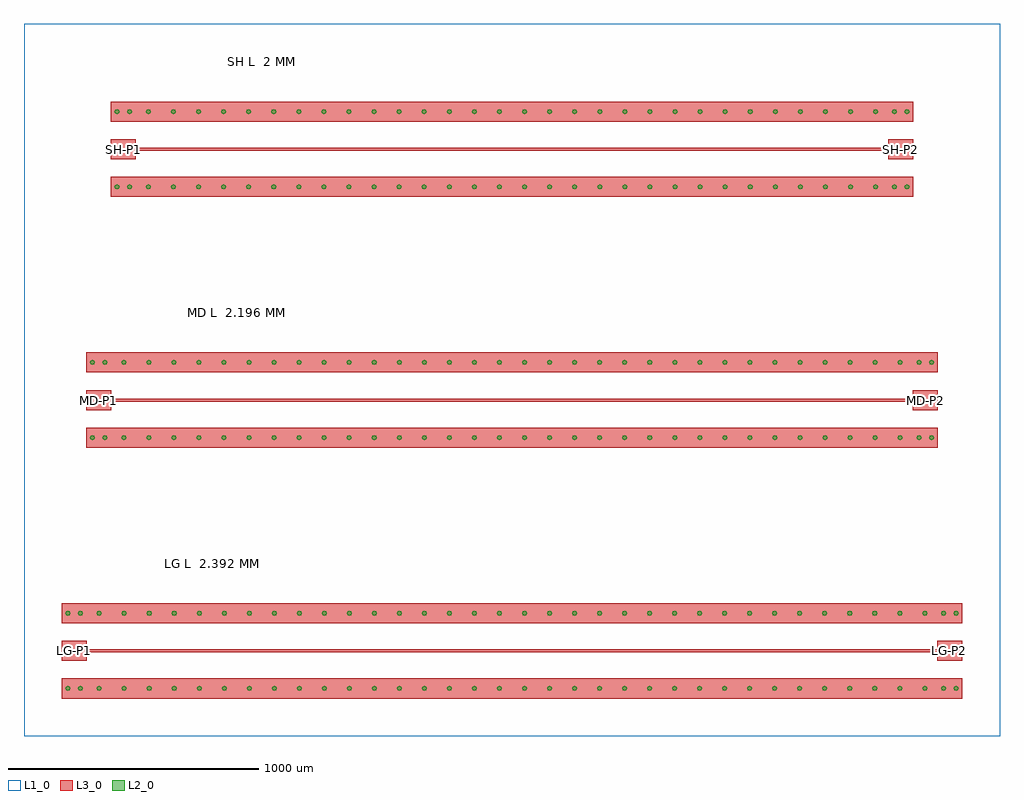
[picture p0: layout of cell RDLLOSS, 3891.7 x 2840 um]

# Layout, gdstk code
import gdstk
lib = gdstk.Library(unit=1e-6, precision=1e-09)
def R(c, l, rs):  # rectangles x0, y0, x1, y1
    for r in rs: c.add(gdstk.rectangle(r[:2], r[2:], *l))
def A(c, l, x, y, w, h, nx, ny, dx, dy):  # array of equal rectangles
    R(c, l, [(x+i*dx, y+j*dy, x+i*dx+w, y+j*dy+h) for i in range(nx) for j in range(ny)])
def P(c, l, *ps):  # polygons
    for p in ps: c.add(gdstk.Polygon(p, *l))
L1_0 = (1, 0)
L2_0 = (2, 0)
L3_0 = (3, 0)

rdlloss = lib.new_cell('RDLLOSS')
R(rdlloss, L1_0, [(-1945.85,-1340,1945.85,1500)])
P(rdlloss, L2_0, [(-1440,1150),(-1442.929,1157.071),(-1450,1160),(-1457.071,1157.071),(-1460,1150),(-1457.071,1142.929),(-1450,1140),(-1442.929,1142.929)],
  [(-1340,1150),(-1342.929,1157.071),(-1350,1160),(-1357.071,1157.071),(-1360,1150),(-1357.071,1142.929),(-1350,1140),(-1342.929,1142.929)],
  [(-1240,1150),(-1242.929,1157.071),(-1250,1160),(-1257.071,1157.071),(-1260,1150),(-1257.071,1142.929),(-1250,1140),(-1242.929,1142.929)],
  [(-1140,1150),(-1142.929,1157.071),(-1150,1160),(-1157.071,1157.071),(-1160,1150),(-1157.071,1142.929),(-1150,1140),(-1142.929,1142.929)],
  [(-1040,1150),(-1042.929,1157.071),(-1050,1160),(-1057.071,1157.071),(-1060,1150),(-1057.071,1142.929),(-1050,1140),(-1042.929,1142.929)],
  [(-940,1150),(-942.929,1157.071),(-950,1160),(-957.071,1157.071),(-960,1150),(-957.071,1142.929),(-950,1140),(-942.929,1142.929)],
  [(-840,1150),(-842.929,1157.071),(-850,1160),(-857.071,1157.071),(-860,1150),(-857.071,1142.929),(-850,1140),(-842.929,1142.929)],
  [(-740,1150),(-742.929,1157.071),(-750,1160),(-757.071,1157.071),(-760,1150),(-757.071,1142.929),(-750,1140),(-742.929,1142.929)],
  [(-640,1150),(-642.929,1157.071),(-650,1160),(-657.071,1157.071),(-660,1150),(-657.071,1142.929),(-650,1140),(-642.929,1142.929)],
  [(-540,1150),(-542.929,1157.071),(-550,1160),(-557.071,1157.071),(-560,1150),(-557.071,1142.929),(-550,1140),(-542.929,1142.929)],
  [(-440,1150),(-442.929,1157.071),(-450,1160),(-457.071,1157.071),(-460,1150),(-457.071,1142.929),(-450,1140),(-442.929,1142.929)],
  [(-340,1150),(-342.929,1157.071),(-350,1160),(-357.071,1157.071),(-360,1150),(-357.071,1142.929),(-350,1140),(-342.929,1142.929)],
  [(-240,1150),(-242.929,1157.071),(-250,1160),(-257.071,1157.071),(-260,1150),(-257.071,1142.929),(-250,1140),(-242.929,1142.929)],
  [(-140,1150),(-142.929,1157.071),(-150,1160),(-157.071,1157.071),(-160,1150),(-157.071,1142.929),(-150,1140),(-142.929,1142.929)],
  [(-40,1150),(-42.929,1157.071),(-50,1160),(-57.071,1157.071),(-60,1150),(-57.071,1142.929),(-50,1140),(-42.929,1142.929)],
  [(60,1150),(57.071,1157.071),(50,1160),(42.929,1157.071),(40,1150),(42.929,1142.929),(50,1140),(57.071,1142.929)],
  [(160,1150),(157.071,1157.071),(150,1160),(142.929,1157.071),(140,1150),(142.929,1142.929),(150,1140),(157.071,1142.929)],
  [(260,1150),(257.071,1157.071),(250,1160),(242.929,1157.071),(240,1150),(242.929,1142.929),(250,1140),(257.071,1142.929)],
  [(360,1150),(357.071,1157.071),(350,1160),(342.929,1157.071),(340,1150),(342.929,1142.929),(350,1140),(357.071,1142.929)],
  [(460,1150),(457.071,1157.071),(450,1160),(442.929,1157.071),(440,1150),(442.929,1142.929),(450,1140),(457.071,1142.929)],
  [(560,1150),(557.071,1157.071),(550,1160),(542.929,1157.071),(540,1150),(542.929,1142.929),(550,1140),(557.071,1142.929)],
  [(660,1150),(657.071,1157.071),(650,1160),(642.929,1157.071),(640,1150),(642.929,1142.929),(650,1140),(657.071,1142.929)],
  [(760,1150),(757.071,1157.071),(750,1160),(742.929,1157.071),(740,1150),(742.929,1142.929),(750,1140),(757.071,1142.929)],
  [(860,1150),(857.071,1157.071),(850,1160),(842.929,1157.071),(840,1150),(842.929,1142.929),(850,1140),(857.071,1142.929)],
  [(960,1150),(957.071,1157.071),(950,1160),(942.929,1157.071),(940,1150),(942.929,1142.929),(950,1140),(957.071,1142.929)],
  [(1060,1150),(1057.071,1157.071),(1050,1160),(1042.929,1157.071),(1040,1150),(1042.929,1142.929),(1050,1140),(1057.071,1142.929)],
  [(1160,1150),(1157.071,1157.071),(1150,1160),(1142.929,1157.071),(1140,1150),(1142.929,1142.929),(1150,1140),(1157.071,1142.929)],
  [(1260,1150),(1257.071,1157.071),(1250,1160),(1242.929,1157.071),(1240,1150),(1242.929,1142.929),(1250,1140),(1257.071,1142.929)],
  [(1360,1150),(1357.071,1157.071),(1350,1160),(1342.929,1157.071),(1340,1150),(1342.929,1142.929),(1350,1140),(1357.071,1142.929)],
  [(1460,1150),(1457.071,1157.071),(1450,1160),(1442.929,1157.071),(1440,1150),(1442.929,1142.929),(1450,1140),(1457.071,1142.929)],
  [(-1440,850),(-1442.929,857.071),(-1450,860),(-1457.071,857.071),(-1460,850),(-1457.071,842.929),(-1450,840),(-1442.929,842.929)],
  [(-1340,850),(-1342.929,857.071),(-1350,860),(-1357.071,857.071),(-1360,850),(-1357.071,842.929),(-1350,840),(-1342.929,842.929)],
  [(-1240,850),(-1242.929,857.071),(-1250,860),(-1257.071,857.071),(-1260,850),(-1257.071,842.929),(-1250,840),(-1242.929,842.929)],
  [(-1140,850),(-1142.929,857.071),(-1150,860),(-1157.071,857.071),(-1160,850),(-1157.071,842.929),(-1150,840),(-1142.929,842.929)],
  [(-1040,850),(-1042.929,857.071),(-1050,860),(-1057.071,857.071),(-1060,850),(-1057.071,842.929),(-1050,840),(-1042.929,842.929)],
  [(-940,850),(-942.929,857.071),(-950,860),(-957.071,857.071),(-960,850),(-957.071,842.929),(-950,840),(-942.929,842.929)],
  [(-840,850),(-842.929,857.071),(-850,860),(-857.071,857.071),(-860,850),(-857.071,842.929),(-850,840),(-842.929,842.929)],
  [(-740,850),(-742.929,857.071),(-750,860),(-757.071,857.071),(-760,850),(-757.071,842.929),(-750,840),(-742.929,842.929)],
  [(-640,850),(-642.929,857.071),(-650,860),(-657.071,857.071),(-660,850),(-657.071,842.929),(-650,840),(-642.929,842.929)],
  [(-540,850),(-542.929,857.071),(-550,860),(-557.071,857.071),(-560,850),(-557.071,842.929),(-550,840),(-542.929,842.929)],
  [(-440,850),(-442.929,857.071),(-450,860),(-457.071,857.071),(-460,850),(-457.071,842.929),(-450,840),(-442.929,842.929)],
  [(-340,850),(-342.929,857.071),(-350,860),(-357.071,857.071),(-360,850),(-357.071,842.929),(-350,840),(-342.929,842.929)],
  [(-240,850),(-242.929,857.071),(-250,860),(-257.071,857.071),(-260,850),(-257.071,842.929),(-250,840),(-242.929,842.929)],
  [(-140,850),(-142.929,857.071),(-150,860),(-157.071,857.071),(-160,850),(-157.071,842.929),(-150,840),(-142.929,842.929)],
  [(-40,850),(-42.929,857.071),(-50,860),(-57.071,857.071),(-60,850),(-57.071,842.929),(-50,840),(-42.929,842.929)],
  [(60,850),(57.071,857.071),(50,860),(42.929,857.071),(40,850),(42.929,842.929),(50,840),(57.071,842.929)],
  [(160,850),(157.071,857.071),(150,860),(142.929,857.071),(140,850),(142.929,842.929),(150,840),(157.071,842.929)],
  [(260,850),(257.071,857.071),(250,860),(242.929,857.071),(240,850),(242.929,842.929),(250,840),(257.071,842.929)],
  [(360,850),(357.071,857.071),(350,860),(342.929,857.071),(340,850),(342.929,842.929),(350,840),(357.071,842.929)],
  [(460,850),(457.071,857.071),(450,860),(442.929,857.071),(440,850),(442.929,842.929),(450,840),(457.071,842.929)],
  [(560,850),(557.071,857.071),(550,860),(542.929,857.071),(540,850),(542.929,842.929),(550,840),(557.071,842.929)],
  [(660,850),(657.071,857.071),(650,860),(642.929,857.071),(640,850),(642.929,842.929),(650,840),(657.071,842.929)],
  [(760,850),(757.071,857.071),(750,860),(742.929,857.071),(740,850),(742.929,842.929),(750,840),(757.071,842.929)],
  [(860,850),(857.071,857.071),(850,860),(842.929,857.071),(840,850),(842.929,842.929),(850,840),(857.071,842.929)],
  [(960,850),(957.071,857.071),(950,860),(942.929,857.071),(940,850),(942.929,842.929),(950,840),(957.071,842.929)],
  [(1060,850),(1057.071,857.071),(1050,860),(1042.929,857.071),(1040,850),(1042.929,842.929),(1050,840),(1057.071,842.929)],
  [(1160,850),(1157.071,857.071),(1150,860),(1142.929,857.071),(1140,850),(1142.929,842.929),(1150,840),(1157.071,842.929)],
  [(1260,850),(1257.071,857.071),(1250,860),(1242.929,857.071),(1240,850),(1242.929,842.929),(1250,840),(1257.071,842.929)],
  [(1360,850),(1357.071,857.071),(1350,860),(1342.929,857.071),(1340,850),(1342.929,842.929),(1350,840),(1357.071,842.929)],
  [(1460,850),(1457.071,857.071),(1450,860),(1442.929,857.071),(1440,850),(1442.929,842.929),(1450,840),(1457.071,842.929)],
  [(-1565,1150),(-1567.929,1157.071),(-1575,1160),(-1582.071,1157.071),(-1585,1150),(-1582.071,1142.929),(-1575,1140),(-1567.929,1142.929)],
  [(-1515,1150),(-1517.929,1157.071),(-1525,1160),(-1532.071,1157.071),(-1535,1150),(-1532.071,1142.929),(-1525,1140),(-1517.929,1142.929)],
  [(-1565,850),(-1567.929,857.071),(-1575,860),(-1582.071,857.071),(-1585,850),(-1582.071,842.929),(-1575,840),(-1567.929,842.929)],
  [(-1515,850),(-1517.929,857.071),(-1525,860),(-1532.071,857.071),(-1535,850),(-1532.071,842.929),(-1525,840),(-1517.929,842.929)],
  [(1535,1150),(1532.071,1157.071),(1525,1160),(1517.929,1157.071),(1515,1150),(1517.929,1142.929),(1525,1140),(1532.071,1142.929)],
  [(1585,1150),(1582.071,1157.071),(1575,1160),(1567.929,1157.071),(1565,1150),(1567.929,1142.929),(1575,1140),(1582.071,1142.929)],
  [(1535,850),(1532.071,857.071),(1525,860),(1517.929,857.071),(1515,850),(1517.929,842.929),(1525,840),(1532.071,842.929)],
  [(1585,850),(1582.071,857.071),(1575,860),(1567.929,857.071),(1565,850),(1567.929,842.929),(1575,840),(1582.071,842.929)],
  [(-1537.99,150),(-1540.919,157.071),(-1547.99,160),(-1555.061,157.071),(-1557.99,150),(-1555.061,142.929),(-1547.99,140),(-1540.919,142.929)],
  [(-1438.12,150),(-1441.049,157.071),(-1448.12,160),(-1455.191,157.071),(-1458.12,150),(-1455.191,142.929),(-1448.12,140),(-1441.049,142.929)],
  [(-1338.249,150),(-1341.178,157.071),(-1348.249,160),(-1355.32,157.071),(-1358.249,150),(-1355.32,142.929),(-1348.249,140),(-1341.178,142.929)],
  [(-1238.379,150),(-1241.308,157.071),(-1248.379,160),(-1255.45,157.071),(-1258.379,150),(-1255.45,142.929),(-1248.379,140),(-1241.308,142.929)],
  [(-1138.509,150),(-1141.438,157.071),(-1148.509,160),(-1155.58,157.071),(-1158.509,150),(-1155.58,142.929),(-1148.509,140),(-1141.438,142.929)],
  [(-1038.638,150),(-1041.567,157.071),(-1048.638,160),(-1055.709,157.071),(-1058.638,150),(-1055.709,142.929),(-1048.638,140),(-1041.567,142.929)],
  [(-938.768,150),(-941.697,157.071),(-948.768,160),(-955.839,157.071),(-958.768,150),(-955.839,142.929),(-948.768,140),(-941.697,142.929)],
  [(-838.898,150),(-841.827,157.071),(-848.898,160),(-855.969,157.071),(-858.898,150),(-855.969,142.929),(-848.898,140),(-841.827,142.929)],
  [(-739.027,150),(-741.956,157.071),(-749.027,160),(-756.098,157.071),(-759.027,150),(-756.098,142.929),(-749.027,140),(-741.956,142.929)],
  [(-639.157,150),(-642.086,157.071),(-649.157,160),(-656.228,157.071),(-659.157,150),(-656.228,142.929),(-649.157,140),(-642.086,142.929)],
  [(-539.287,150),(-542.216,157.071),(-549.287,160),(-556.358,157.071),(-559.287,150),(-556.358,142.929),(-549.287,140),(-542.216,142.929)],
  [(-439.416,150),(-442.345,157.071),(-449.416,160),(-456.488,157.071),(-459.416,150),(-456.488,142.929),(-449.416,140),(-442.345,142.929)],
  [(-339.546,150),(-342.475,157.071),(-349.546,160),(-356.617,157.071),(-359.546,150),(-356.617,142.929),(-349.546,140),(-342.475,142.929)],
  [(-239.676,150),(-242.605,157.071),(-249.676,160),(-256.747,157.071),(-259.676,150),(-256.747,142.929),(-249.676,140),(-242.605,142.929)],
  [(-139.805,150),(-142.734,157.071),(-149.805,160),(-156.877,157.071),(-159.805,150),(-156.877,142.929),(-149.805,140),(-142.734,142.929)],
  [(-39.935,150),(-42.864,157.071),(-49.935,160),(-57.006,157.071),(-59.935,150),(-57.006,142.929),(-49.935,140),(-42.864,142.929)],
  [(59.935,150),(57.006,157.071),(49.935,160),(42.864,157.071),(39.935,150),(42.864,142.929),(49.935,140),(57.006,142.929)],
  [(159.805,150),(156.877,157.071),(149.805,160),(142.734,157.071),(139.805,150),(142.734,142.929),(149.805,140),(156.877,142.929)],
  [(259.676,150),(256.747,157.071),(249.676,160),(242.605,157.071),(239.676,150),(242.605,142.929),(249.676,140),(256.747,142.929)],
  [(359.546,150),(356.617,157.071),(349.546,160),(342.475,157.071),(339.546,150),(342.475,142.929),(349.546,140),(356.617,142.929)],
  [(459.416,150),(456.488,157.071),(449.416,160),(442.345,157.071),(439.416,150),(442.345,142.929),(449.416,140),(456.488,142.929)],
  [(559.287,150),(556.358,157.071),(549.287,160),(542.216,157.071),(539.287,150),(542.216,142.929),(549.287,140),(556.358,142.929)],
  [(659.157,150),(656.228,157.071),(649.157,160),(642.086,157.071),(639.157,150),(642.086,142.929),(649.157,140),(656.228,142.929)],
  [(759.027,150),(756.098,157.071),(749.027,160),(741.956,157.071),(739.027,150),(741.956,142.929),(749.027,140),(756.098,142.929)],
  [(858.898,150),(855.969,157.071),(848.898,160),(841.827,157.071),(838.898,150),(841.827,142.929),(848.898,140),(855.969,142.929)],
  [(958.768,150),(955.839,157.071),(948.768,160),(941.697,157.071),(938.768,150),(941.697,142.929),(948.768,140),(955.839,142.929)],
  [(1058.638,150),(1055.709,157.071),(1048.638,160),(1041.567,157.071),(1038.638,150),(1041.567,142.929),(1048.638,140),(1055.709,142.929)],
  [(1158.509,150),(1155.58,157.071),(1148.509,160),(1141.438,157.071),(1138.509,150),(1141.438,142.929),(1148.509,140),(1155.58,142.929)],
  [(1258.379,150),(1255.45,157.071),(1248.379,160),(1241.308,157.071),(1238.379,150),(1241.308,142.929),(1248.379,140),(1255.45,142.929)],
  [(1358.249,150),(1355.32,157.071),(1348.249,160),(1341.178,157.071),(1338.249,150),(1341.178,142.929),(1348.249,140),(1355.32,142.929)],
  [(1458.12,150),(1455.191,157.071),(1448.12,160),(1441.049,157.071),(1438.12,150),(1441.049,142.929),(1448.12,140),(1455.191,142.929)],
  [(1557.99,150),(1555.061,157.071),(1547.99,160),(1540.919,157.071),(1537.99,150),(1540.919,142.929),(1547.99,140),(1555.061,142.929)],
  [(-1537.99,-150),(-1540.919,-142.929),(-1547.99,-140),(-1555.061,-142.929),(-1557.99,-150),(-1555.061,-157.071),(-1547.99,-160),(-1540.919,-157.071)],
  [(-1438.12,-150),(-1441.049,-142.929),(-1448.12,-140),(-1455.191,-142.929),(-1458.12,-150),(-1455.191,-157.071),(-1448.12,-160),(-1441.049,-157.071)],
  [(-1338.249,-150),(-1341.178,-142.929),(-1348.249,-140),(-1355.32,-142.929),(-1358.249,-150),(-1355.32,-157.071),(-1348.249,-160),(-1341.178,-157.071)],
  [(-1238.379,-150),(-1241.308,-142.929),(-1248.379,-140),(-1255.45,-142.929),(-1258.379,-150),(-1255.45,-157.071),(-1248.379,-160),(-1241.308,-157.071)],
  [(-1138.509,-150),(-1141.438,-142.929),(-1148.509,-140),(-1155.58,-142.929),(-1158.509,-150),(-1155.58,-157.071),(-1148.509,-160),(-1141.438,-157.071)],
  [(-1038.638,-150),(-1041.567,-142.929),(-1048.638,-140),(-1055.709,-142.929),(-1058.638,-150),(-1055.709,-157.071),(-1048.638,-160),(-1041.567,-157.071)],
  [(-938.768,-150),(-941.697,-142.929),(-948.768,-140),(-955.839,-142.929),(-958.768,-150),(-955.839,-157.071),(-948.768,-160),(-941.697,-157.071)],
  [(-838.898,-150),(-841.827,-142.929),(-848.898,-140),(-855.969,-142.929),(-858.898,-150),(-855.969,-157.071),(-848.898,-160),(-841.827,-157.071)],
  [(-739.027,-150),(-741.956,-142.929),(-749.027,-140),(-756.098,-142.929),(-759.027,-150),(-756.098,-157.071),(-749.027,-160),(-741.956,-157.071)],
  [(-639.157,-150),(-642.086,-142.929),(-649.157,-140),(-656.228,-142.929),(-659.157,-150),(-656.228,-157.071),(-649.157,-160),(-642.086,-157.071)],
  [(-539.287,-150),(-542.216,-142.929),(-549.287,-140),(-556.358,-142.929),(-559.287,-150),(-556.358,-157.071),(-549.287,-160),(-542.216,-157.071)],
  [(-439.416,-150),(-442.345,-142.929),(-449.416,-140),(-456.488,-142.929),(-459.416,-150),(-456.488,-157.071),(-449.416,-160),(-442.345,-157.071)],
  [(-339.546,-150),(-342.475,-142.929),(-349.546,-140),(-356.617,-142.929),(-359.546,-150),(-356.617,-157.071),(-349.546,-160),(-342.475,-157.071)],
  [(-239.676,-150),(-242.605,-142.929),(-249.676,-140),(-256.747,-142.929),(-259.676,-150),(-256.747,-157.071),(-249.676,-160),(-242.605,-157.071)],
  [(-139.805,-150),(-142.734,-142.929),(-149.805,-140),(-156.877,-142.929),(-159.805,-150),(-156.877,-157.071),(-149.805,-160),(-142.734,-157.071)],
  [(-39.935,-150),(-42.864,-142.929),(-49.935,-140),(-57.006,-142.929),(-59.935,-150),(-57.006,-157.071),(-49.935,-160),(-42.864,-157.071)],
  [(59.935,-150),(57.006,-142.929),(49.935,-140),(42.864,-142.929),(39.935,-150),(42.864,-157.071),(49.935,-160),(57.006,-157.071)],
  [(159.805,-150),(156.877,-142.929),(149.805,-140),(142.734,-142.929),(139.805,-150),(142.734,-157.071),(149.805,-160),(156.877,-157.071)],
  [(259.676,-150),(256.747,-142.929),(249.676,-140),(242.605,-142.929),(239.676,-150),(242.605,-157.071),(249.676,-160),(256.747,-157.071)],
  [(359.546,-150),(356.617,-142.929),(349.546,-140),(342.475,-142.929),(339.546,-150),(342.475,-157.071),(349.546,-160),(356.617,-157.071)],
  [(459.416,-150),(456.488,-142.929),(449.416,-140),(442.345,-142.929),(439.416,-150),(442.345,-157.071),(449.416,-160),(456.488,-157.071)],
  [(559.287,-150),(556.358,-142.929),(549.287,-140),(542.216,-142.929),(539.287,-150),(542.216,-157.071),(549.287,-160),(556.358,-157.071)],
  [(659.157,-150),(656.228,-142.929),(649.157,-140),(642.086,-142.929),(639.157,-150),(642.086,-157.071),(649.157,-160),(656.228,-157.071)],
  [(759.027,-150),(756.098,-142.929),(749.027,-140),(741.956,-142.929),(739.027,-150),(741.956,-157.071),(749.027,-160),(756.098,-157.071)],
  [(858.898,-150),(855.969,-142.929),(848.898,-140),(841.827,-142.929),(838.898,-150),(841.827,-157.071),(848.898,-160),(855.969,-157.071)],
  [(958.768,-150),(955.839,-142.929),(948.768,-140),(941.697,-142.929),(938.768,-150),(941.697,-157.071),(948.768,-160),(955.839,-157.071)],
  [(1058.638,-150),(1055.709,-142.929),(1048.638,-140),(1041.567,-142.929),(1038.638,-150),(1041.567,-157.071),(1048.638,-160),(1055.709,-157.071)],
  [(1158.509,-150),(1155.58,-142.929),(1148.509,-140),(1141.438,-142.929),(1138.509,-150),(1141.438,-157.071),(1148.509,-160),(1155.58,-157.071)],
  [(1258.379,-150),(1255.45,-142.929),(1248.379,-140),(1241.308,-142.929),(1238.379,-150),(1241.308,-157.071),(1248.379,-160),(1255.45,-157.071)],
  [(1358.249,-150),(1355.32,-142.929),(1348.249,-140),(1341.178,-142.929),(1338.249,-150),(1341.178,-157.071),(1348.249,-160),(1355.32,-157.071)],
  [(1458.12,-150),(1455.191,-142.929),(1448.12,-140),(1441.049,-142.929),(1438.12,-150),(1441.049,-157.071),(1448.12,-160),(1455.191,-157.071)],
  [(1557.99,-150),(1555.061,-142.929),(1547.99,-140),(1540.919,-142.929),(1537.99,-150),(1540.919,-157.071),(1547.99,-160),(1555.061,-157.071)],
  [(-1662.925,150),(-1665.854,157.071),(-1672.925,160),(-1679.996,157.071),(-1682.925,150),(-1679.996,142.929),(-1672.925,140),(-1665.854,142.929)],
  [(-1612.925,150),(-1615.854,157.071),(-1622.925,160),(-1629.996,157.071),(-1632.925,150),(-1629.996,142.929),(-1622.925,140),(-1615.854,142.929)],
  [(-1662.925,-150),(-1665.854,-142.929),(-1672.925,-140),(-1679.996,-142.929),(-1682.925,-150),(-1679.996,-157.071),(-1672.925,-160),(-1665.854,-157.071)],
  [(-1612.925,-150),(-1615.854,-142.929),(-1622.925,-140),(-1629.996,-142.929),(-1632.925,-150),(-1629.996,-157.071),(-1622.925,-160),(-1615.854,-157.071)],
  [(1632.925,150),(1629.996,157.071),(1622.925,160),(1615.854,157.071),(1612.925,150),(1615.854,142.929),(1622.925,140),(1629.996,142.929)],
  [(1682.925,150),(1679.996,157.071),(1672.925,160),(1665.854,157.071),(1662.925,150),(1665.854,142.929),(1672.925,140),(1679.996,142.929)],
  [(1632.925,-150),(1629.996,-142.929),(1622.925,-140),(1615.854,-142.929),(1612.925,-150),(1615.854,-157.071),(1622.925,-160),(1629.996,-157.071)],
  [(1682.925,-150),(1679.996,-142.929),(1672.925,-140),(1665.854,-142.929),(1662.925,-150),(1665.854,-157.071),(1672.925,-160),(1679.996,-157.071)],
  [(-1635.972,-850),(-1638.901,-842.929),(-1645.972,-840),(-1653.043,-842.929),(-1655.972,-850),(-1653.043,-857.071),(-1645.972,-860),(-1638.901,-857.071)],
  [(-1536.216,-850),(-1539.145,-842.929),(-1546.216,-840),(-1553.288,-842.929),(-1556.216,-850),(-1553.288,-857.071),(-1546.216,-860),(-1539.145,-857.071)],
  [(-1436.461,-850),(-1439.39,-842.929),(-1446.461,-840),(-1453.532,-842.929),(-1456.461,-850),(-1453.532,-857.071),(-1446.461,-860),(-1439.39,-857.071)],
  [(-1336.705,-850),(-1339.634,-842.929),(-1346.705,-840),(-1353.776,-842.929),(-1356.705,-850),(-1353.776,-857.071),(-1346.705,-860),(-1339.634,-857.071)],
  [(-1236.949,-850),(-1239.878,-842.929),(-1246.949,-840),(-1254.02,-842.929),(-1256.949,-850),(-1254.02,-857.071),(-1246.949,-860),(-1239.878,-857.071)],
  [(-1137.193,-850),(-1140.122,-842.929),(-1147.193,-840),(-1154.264,-842.929),(-1157.193,-850),(-1154.264,-857.071),(-1147.193,-860),(-1140.122,-857.071)],
  [(-1037.437,-850),(-1040.366,-842.929),(-1047.437,-840),(-1054.508,-842.929),(-1057.437,-850),(-1054.508,-857.071),(-1047.437,-860),(-1040.366,-857.071)],
  [(-937.681,-850),(-940.61,-842.929),(-947.681,-840),(-954.752,-842.929),(-957.681,-850),(-954.752,-857.071),(-947.681,-860),(-940.61,-857.071)],
  [(-837.925,-850),(-840.854,-842.929),(-847.925,-840),(-854.996,-842.929),(-857.925,-850),(-854.996,-857.071),(-847.925,-860),(-840.854,-857.071)],
  [(-738.169,-850),(-741.098,-842.929),(-748.169,-840),(-755.24,-842.929),(-758.169,-850),(-755.24,-857.071),(-748.169,-860),(-741.098,-857.071)],
  [(-638.413,-850),(-641.342,-842.929),(-648.413,-840),(-655.484,-842.929),(-658.413,-850),(-655.484,-857.071),(-648.413,-860),(-641.342,-857.071)],
  [(-538.657,-850),(-541.586,-842.929),(-548.657,-840),(-555.729,-842.929),(-558.657,-850),(-555.729,-857.071),(-548.657,-860),(-541.586,-857.071)],
  [(-438.902,-850),(-441.83,-842.929),(-448.902,-840),(-455.973,-842.929),(-458.902,-850),(-455.973,-857.071),(-448.902,-860),(-441.83,-857.071)],
  [(-339.146,-850),(-342.075,-842.929),(-349.146,-840),(-356.217,-842.929),(-359.146,-850),(-356.217,-857.071),(-349.146,-860),(-342.075,-857.071)],
  [(-239.39,-850),(-242.319,-842.929),(-249.39,-840),(-256.461,-842.929),(-259.39,-850),(-256.461,-857.071),(-249.39,-860),(-242.319,-857.071)],
  [(-139.634,-850),(-142.563,-842.929),(-149.634,-840),(-156.705,-842.929),(-159.634,-850),(-156.705,-857.071),(-149.634,-860),(-142.563,-857.071)],
  [(-39.878,-850),(-42.807,-842.929),(-49.878,-840),(-56.949,-842.929),(-59.878,-850),(-56.949,-857.071),(-49.878,-860),(-42.807,-857.071)],
  [(59.878,-850),(56.949,-842.929),(49.878,-840),(42.807,-842.929),(39.878,-850),(42.807,-857.071),(49.878,-860),(56.949,-857.071)],
  [(159.634,-850),(156.705,-842.929),(149.634,-840),(142.563,-842.929),(139.634,-850),(142.563,-857.071),(149.634,-860),(156.705,-857.071)],
  [(259.39,-850),(256.461,-842.929),(249.39,-840),(242.319,-842.929),(239.39,-850),(242.319,-857.071),(249.39,-860),(256.461,-857.071)],
  [(359.146,-850),(356.217,-842.929),(349.146,-840),(342.075,-842.929),(339.146,-850),(342.075,-857.071),(349.146,-860),(356.217,-857.071)],
  [(458.902,-850),(455.973,-842.929),(448.902,-840),(441.83,-842.929),(438.902,-850),(441.83,-857.071),(448.902,-860),(455.973,-857.071)],
  [(558.657,-850),(555.729,-842.929),(548.657,-840),(541.586,-842.929),(538.657,-850),(541.586,-857.071),(548.657,-860),(555.729,-857.071)],
  [(658.413,-850),(655.484,-842.929),(648.413,-840),(641.342,-842.929),(638.413,-850),(641.342,-857.071),(648.413,-860),(655.484,-857.071)],
  [(758.169,-850),(755.24,-842.929),(748.169,-840),(741.098,-842.929),(738.169,-850),(741.098,-857.071),(748.169,-860),(755.24,-857.071)],
  [(857.925,-850),(854.996,-842.929),(847.925,-840),(840.854,-842.929),(837.925,-850),(840.854,-857.071),(847.925,-860),(854.996,-857.071)],
  [(957.681,-850),(954.752,-842.929),(947.681,-840),(940.61,-842.929),(937.681,-850),(940.61,-857.071),(947.681,-860),(954.752,-857.071)],
  [(1057.437,-850),(1054.508,-842.929),(1047.437,-840),(1040.366,-842.929),(1037.437,-850),(1040.366,-857.071),(1047.437,-860),(1054.508,-857.071)],
  [(1157.193,-850),(1154.264,-842.929),(1147.193,-840),(1140.122,-842.929),(1137.193,-850),(1140.122,-857.071),(1147.193,-860),(1154.264,-857.071)],
  [(1256.949,-850),(1254.02,-842.929),(1246.949,-840),(1239.878,-842.929),(1236.949,-850),(1239.878,-857.071),(1246.949,-860),(1254.02,-857.071)],
  [(1356.705,-850),(1353.776,-842.929),(1346.705,-840),(1339.634,-842.929),(1336.705,-850),(1339.634,-857.071),(1346.705,-860),(1353.776,-857.071)],
  [(1456.461,-850),(1453.532,-842.929),(1446.461,-840),(1439.39,-842.929),(1436.461,-850),(1439.39,-857.071),(1446.461,-860),(1453.532,-857.071)],
  [(1556.216,-850),(1553.288,-842.929),(1546.216,-840),(1539.145,-842.929),(1536.216,-850),(1539.145,-857.071),(1546.216,-860),(1553.288,-857.071)],
  [(1655.972,-850),(1653.043,-842.929),(1645.972,-840),(1638.901,-842.929),(1635.972,-850),(1638.901,-857.071),(1645.972,-860),(1653.043,-857.071)],
  [(-1635.972,-1150),(-1638.901,-1142.929),(-1645.972,-1140),(-1653.043,-1142.929),(-1655.972,-1150),(-1653.043,-1157.071),(-1645.972,-1160),(-1638.901,-1157.071)],
  [(-1536.216,-1150),(-1539.145,-1142.929),(-1546.216,-1140),(-1553.288,-1142.929),(-1556.216,-1150),(-1553.288,-1157.071),(-1546.216,-1160),(-1539.145,-1157.071)],
  [(-1436.461,-1150),(-1439.39,-1142.929),(-1446.461,-1140),(-1453.532,-1142.929),(-1456.461,-1150),(-1453.532,-1157.071),(-1446.461,-1160),(-1439.39,-1157.071)],
  [(-1336.705,-1150),(-1339.634,-1142.929),(-1346.705,-1140),(-1353.776,-1142.929),(-1356.705,-1150),(-1353.776,-1157.071),(-1346.705,-1160),(-1339.634,-1157.071)],
  [(-1236.949,-1150),(-1239.878,-1142.929),(-1246.949,-1140),(-1254.02,-1142.929),(-1256.949,-1150),(-1254.02,-1157.071),(-1246.949,-1160),(-1239.878,-1157.071)],
  [(-1137.193,-1150),(-1140.122,-1142.929),(-1147.193,-1140),(-1154.264,-1142.929),(-1157.193,-1150),(-1154.264,-1157.071),(-1147.193,-1160),(-1140.122,-1157.071)],
  [(-1037.437,-1150),(-1040.366,-1142.929),(-1047.437,-1140),(-1054.508,-1142.929),(-1057.437,-1150),(-1054.508,-1157.071),(-1047.437,-1160),(-1040.366,-1157.071)],
  [(-937.681,-1150),(-940.61,-1142.929),(-947.681,-1140),(-954.752,-1142.929),(-957.681,-1150),(-954.752,-1157.071),(-947.681,-1160),(-940.61,-1157.071)],
  [(-837.925,-1150),(-840.854,-1142.929),(-847.925,-1140),(-854.996,-1142.929),(-857.925,-1150),(-854.996,-1157.071),(-847.925,-1160),(-840.854,-1157.071)],
  [(-738.169,-1150),(-741.098,-1142.929),(-748.169,-1140),(-755.24,-1142.929),(-758.169,-1150),(-755.24,-1157.071),(-748.169,-1160),(-741.098,-1157.071)],
  [(-638.413,-1150),(-641.342,-1142.929),(-648.413,-1140),(-655.484,-1142.929),(-658.413,-1150),(-655.484,-1157.071),(-648.413,-1160),(-641.342,-1157.071)],
  [(-538.657,-1150),(-541.586,-1142.929),(-548.657,-1140),(-555.729,-1142.929),(-558.657,-1150),(-555.729,-1157.071),(-548.657,-1160),(-541.586,-1157.071)],
  [(-438.902,-1150),(-441.83,-1142.929),(-448.902,-1140),(-455.973,-1142.929),(-458.902,-1150),(-455.973,-1157.071),(-448.902,-1160),(-441.83,-1157.071)],
  [(-339.146,-1150),(-342.075,-1142.929),(-349.146,-1140),(-356.217,-1142.929),(-359.146,-1150),(-356.217,-1157.071),(-349.146,-1160),(-342.075,-1157.071)],
  [(-239.39,-1150),(-242.319,-1142.929),(-249.39,-1140),(-256.461,-1142.929),(-259.39,-1150),(-256.461,-1157.071),(-249.39,-1160),(-242.319,-1157.071)],
  [(-139.634,-1150),(-142.563,-1142.929),(-149.634,-1140),(-156.705,-1142.929),(-159.634,-1150),(-156.705,-1157.071),(-149.634,-1160),(-142.563,-1157.071)],
  [(-39.878,-1150),(-42.807,-1142.929),(-49.878,-1140),(-56.949,-1142.929),(-59.878,-1150),(-56.949,-1157.071),(-49.878,-1160),(-42.807,-1157.071)],
  [(59.878,-1150),(56.949,-1142.929),(49.878,-1140),(42.807,-1142.929),(39.878,-1150),(42.807,-1157.071),(49.878,-1160),(56.949,-1157.071)],
  [(159.634,-1150),(156.705,-1142.929),(149.634,-1140),(142.563,-1142.929),(139.634,-1150),(142.563,-1157.071),(149.634,-1160),(156.705,-1157.071)],
  [(259.39,-1150),(256.461,-1142.929),(249.39,-1140),(242.319,-1142.929),(239.39,-1150),(242.319,-1157.071),(249.39,-1160),(256.461,-1157.071)],
  [(359.146,-1150),(356.217,-1142.929),(349.146,-1140),(342.075,-1142.929),(339.146,-1150),(342.075,-1157.071),(349.146,-1160),(356.217,-1157.071)],
  [(458.902,-1150),(455.973,-1142.929),(448.902,-1140),(441.83,-1142.929),(438.902,-1150),(441.83,-1157.071),(448.902,-1160),(455.973,-1157.071)],
  [(558.657,-1150),(555.729,-1142.929),(548.657,-1140),(541.586,-1142.929),(538.657,-1150),(541.586,-1157.071),(548.657,-1160),(555.729,-1157.071)],
  [(658.413,-1150),(655.484,-1142.929),(648.413,-1140),(641.342,-1142.929),(638.413,-1150),(641.342,-1157.071),(648.413,-1160),(655.484,-1157.071)],
  [(758.169,-1150),(755.24,-1142.929),(748.169,-1140),(741.098,-1142.929),(738.169,-1150),(741.098,-1157.071),(748.169,-1160),(755.24,-1157.071)],
  [(857.925,-1150),(854.996,-1142.929),(847.925,-1140),(840.854,-1142.929),(837.925,-1150),(840.854,-1157.071),(847.925,-1160),(854.996,-1157.071)],
  [(957.681,-1150),(954.752,-1142.929),(947.681,-1140),(940.61,-1142.929),(937.681,-1150),(940.61,-1157.071),(947.681,-1160),(954.752,-1157.071)],
  [(1057.437,-1150),(1054.508,-1142.929),(1047.437,-1140),(1040.366,-1142.929),(1037.437,-1150),(1040.366,-1157.071),(1047.437,-1160),(1054.508,-1157.071)],
  [(1157.193,-1150),(1154.264,-1142.929),(1147.193,-1140),(1140.122,-1142.929),(1137.193,-1150),(1140.122,-1157.071),(1147.193,-1160),(1154.264,-1157.071)],
  [(1256.949,-1150),(1254.02,-1142.929),(1246.949,-1140),(1239.878,-1142.929),(1236.949,-1150),(1239.878,-1157.071),(1246.949,-1160),(1254.02,-1157.071)],
  [(1356.705,-1150),(1353.776,-1142.929),(1346.705,-1140),(1339.634,-1142.929),(1336.705,-1150),(1339.634,-1157.071),(1346.705,-1160),(1353.776,-1157.071)],
  [(1456.461,-1150),(1453.532,-1142.929),(1446.461,-1140),(1439.39,-1142.929),(1436.461,-1150),(1439.39,-1157.071),(1446.461,-1160),(1453.532,-1157.071)],
  [(1556.216,-1150),(1553.288,-1142.929),(1546.216,-1140),(1539.145,-1142.929),(1536.216,-1150),(1539.145,-1157.071),(1546.216,-1160),(1553.288,-1157.071)],
  [(1655.972,-1150),(1653.043,-1142.929),(1645.972,-1140),(1638.901,-1142.929),(1635.972,-1150),(1638.901,-1157.071),(1645.972,-1160),(1653.043,-1157.071)],
  [(-1760.85,-850),(-1763.779,-842.929),(-1770.85,-840),(-1777.921,-842.929),(-1780.85,-850),(-1777.921,-857.071),(-1770.85,-860),(-1763.779,-857.071)],
  [(-1710.85,-850),(-1713.779,-842.929),(-1720.85,-840),(-1727.921,-842.929),(-1730.85,-850),(-1727.921,-857.071),(-1720.85,-860),(-1713.779,-857.071)],
  [(-1760.85,-1150),(-1763.779,-1142.929),(-1770.85,-1140),(-1777.921,-1142.929),(-1780.85,-1150),(-1777.921,-1157.071),(-1770.85,-1160),(-1763.779,-1157.071)],
  [(-1710.85,-1150),(-1713.779,-1142.929),(-1720.85,-1140),(-1727.921,-1142.929),(-1730.85,-1150),(-1727.921,-1157.071),(-1720.85,-1160),(-1713.779,-1157.071)],
  [(1730.85,-850),(1727.921,-842.929),(1720.85,-840),(1713.779,-842.929),(1710.85,-850),(1713.779,-857.071),(1720.85,-860),(1727.921,-857.071)],
  [(1780.85,-850),(1777.921,-842.929),(1770.85,-840),(1763.779,-842.929),(1760.85,-850),(1763.779,-857.071),(1770.85,-860),(1777.921,-857.071)],
  [(1730.85,-1150),(1727.921,-1142.929),(1720.85,-1140),(1713.779,-1142.929),(1710.85,-1150),(1713.779,-1157.071),(1720.85,-1160),(1727.921,-1157.071)],
  [(1780.85,-1150),(1777.921,-1142.929),(1770.85,-1140),(1763.779,-1142.929),(1760.85,-1150),(1763.779,-1157.071),(1770.85,-1160),(1777.921,-1157.071)])
A(rdlloss, L3_0, -1795.85, -1190, 100, 80, 1, 3, 0, 150)
A(rdlloss, L3_0, 1695.85, -1190, 100, 80, 1, 3, 0, 150)
A(rdlloss, L3_0, -1697.925, -190, 100, 80, 1, 3, 0, 150)
A(rdlloss, L3_0, 1597.925, -190, 100, 80, 1, 3, 0, 150)
A(rdlloss, L3_0, -1600, 810, 100, 80, 1, 3, 0, 150)
A(rdlloss, L3_0, 1500, 810, 100, 80, 1, 3, 0, 150)
R(rdlloss, L3_0, [(-1695.85,-1190,1695.85,-1110), (-1695.85,-1006.216,-1195.85,-993.784), (-1195.85,-1006.216,1195.85,-993.784), (1195.85,-1006.216,1695.85,-993.784), (-1695.85,-890,1695.85,-810), (-1597.925,-190,1597.925,-110), (-1597.925,-6.216,-1097.925,6.216), (-1097.925,-6.216,1097.925,6.216), (1097.925,-6.216,1597.925,6.216), (-1597.925,110,1597.925,190), (-1500,810,1500,890), (-1500,993.784,-1000,1006.216), (-1000,993.784,1000,1006.216), (1000,993.784,1500,1006.216), (-1500,1110,1500,1190)])
rdlloss.add(gdstk.Label('SH-P1', (-1550,1000), layer=10, texttype=0))
rdlloss.add(gdstk.Label('SH-P2', (1550,1000), layer=10, texttype=0))
rdlloss.add(gdstk.Label('SH L  2 MM', (-1000,1350), layer=11, texttype=0))
rdlloss.add(gdstk.Label('MD-P1', (-1647.925,0), layer=10, texttype=0))
rdlloss.add(gdstk.Label('MD-P2', (1647.925,0), layer=10, texttype=0))
rdlloss.add(gdstk.Label('MD L  2.196 MM', (-1097.925,350), layer=11, texttype=0))
rdlloss.add(gdstk.Label('LG-P1', (-1745.85,-1000), layer=10, texttype=0))
rdlloss.add(gdstk.Label('LG-P2', (1745.85,-1000), layer=10, texttype=0))
rdlloss.add(gdstk.Label('LG L  2.392 MM', (-1195.85,-650), layer=11, texttype=0))

lib.write_gds('RDLLOSS.gds')
